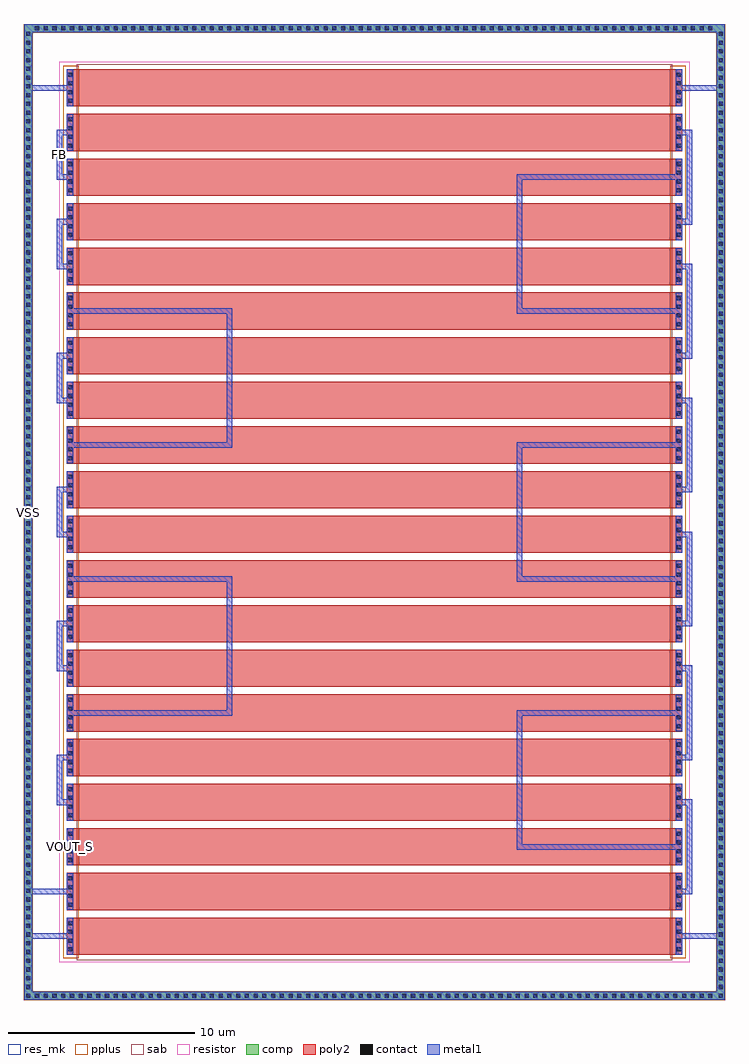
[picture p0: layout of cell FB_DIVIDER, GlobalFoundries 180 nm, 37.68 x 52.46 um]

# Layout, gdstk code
import gdstk
lib = gdstk.Library(unit=1e-6, precision=1e-09)
def R(c, l, rs):  # rectangles x0, y0, x1, y1
    for r in rs: c.add(gdstk.rectangle(r[:2], r[2:], *l))
def A(c, l, x, y, w, h, nx, ny, dx, dy):  # array of equal rectangles
    R(c, l, [(x+i*dx, y+j*dy, x+i*dx+w, y+j*dy+h) for i in range(nx) for j in range(ny)])
def P(c, l, *ps):  # polygons
    for p in ps: c.add(gdstk.Polygon(p, *l))
comp = (22, 0)
poly2 = (30, 0)
pplus = (31, 0)
contact = (33, 0)
metal1 = (34, 0)
sab = (49, 0)
resistor = (62, 0)
res_mk = (110, 5)

fb_divider = lib.new_cell('FB_DIVIDER')
P(fb_divider, comp, [(-2.92,-2.41),(-2.92,49.59),(-2.5,49.59),(-2.5,-1.99),(34.3,-1.99),(34.3,49.59),(-2.92,49.59),(-2.92,50.01),(34.72,50.01),(34.72,-2.41)])
A(fb_divider, poly2, -0.64, 0, 33.08, 2, 1, 20, 0, 2.4)
A(fb_divider, pplus, -0.82, -0.18, 0.82, 2.36, 1, 20, 0, 2.4)
A(fb_divider, pplus, 31.8, -0.18, 0.82, 2.36, 1, 20, 0, 2.4)
R(fb_divider, pplus, [(-0.82,-0.18,0,47.78), (31.8,-0.18,32.62,47.78)])
P(fb_divider, pplus, [(-2.94,-2.43),(-2.94,49.57),(-2.48,49.57),(-2.48,-1.97),(34.28,-1.97),(34.28,49.57),(-2.94,49.57),(-2.94,50.03),(34.74,50.03),(34.74,-2.43)])
A(fb_divider, contact, -2.82, -2.31, 0.22, 0.22, 79, 1, 0.47, 0)
A(fb_divider, contact, 34.4, -2.31, 0.22, 0.22, 1, 111, 0, 0.47)
A(fb_divider, contact, -2.82, -1.84, 0.22, 0.22, 1, 110, 0, 0.47)
A(fb_divider, contact, -0.57, 0.185, 0.22, 0.22, 1, 4, 0, 0.47)
A(fb_divider, contact, 32.15, 0.185, 0.22, 0.22, 1, 4, 0, 0.47)
A(fb_divider, contact, -0.57, 2.585, 0.22, 0.22, 1, 4, 0, 0.47)
A(fb_divider, contact, 32.15, 2.585, 0.22, 0.22, 1, 4, 0, 0.47)
A(fb_divider, contact, -0.57, 4.985, 0.22, 0.22, 1, 4, 0, 0.47)
A(fb_divider, contact, 32.15, 4.985, 0.22, 0.22, 1, 4, 0, 0.47)
A(fb_divider, contact, -0.57, 7.385, 0.22, 0.22, 1, 4, 0, 0.47)
A(fb_divider, contact, 32.15, 7.385, 0.22, 0.22, 1, 4, 0, 0.47)
A(fb_divider, contact, -0.57, 9.785, 0.22, 0.22, 1, 4, 0, 0.47)
A(fb_divider, contact, 32.15, 9.785, 0.22, 0.22, 1, 4, 0, 0.47)
A(fb_divider, contact, -0.57, 12.185, 0.22, 0.22, 1, 4, 0, 0.47)
A(fb_divider, contact, 32.15, 12.185, 0.22, 0.22, 1, 4, 0, 0.47)
A(fb_divider, contact, -0.57, 14.585, 0.22, 0.22, 1, 4, 0, 0.47)
A(fb_divider, contact, 32.15, 14.585, 0.22, 0.22, 1, 4, 0, 0.47)
A(fb_divider, contact, -0.57, 16.985, 0.22, 0.22, 1, 4, 0, 0.47)
A(fb_divider, contact, 32.15, 16.985, 0.22, 0.22, 1, 4, 0, 0.47)
A(fb_divider, contact, -0.57, 19.385, 0.22, 0.22, 1, 4, 0, 0.47)
A(fb_divider, contact, 32.15, 19.385, 0.22, 0.22, 1, 4, 0, 0.47)
A(fb_divider, contact, -0.57, 21.785, 0.22, 0.22, 1, 4, 0, 0.47)
A(fb_divider, contact, 32.15, 21.785, 0.22, 0.22, 1, 4, 0, 0.47)
A(fb_divider, contact, -0.57, 24.185, 0.22, 0.22, 1, 4, 0, 0.47)
A(fb_divider, contact, 32.15, 24.185, 0.22, 0.22, 1, 4, 0, 0.47)
A(fb_divider, contact, -0.57, 26.585, 0.22, 0.22, 1, 4, 0, 0.47)
A(fb_divider, contact, 32.15, 26.585, 0.22, 0.22, 1, 4, 0, 0.47)
A(fb_divider, contact, -0.57, 28.985, 0.22, 0.22, 1, 4, 0, 0.47)
A(fb_divider, contact, 32.15, 28.985, 0.22, 0.22, 1, 4, 0, 0.47)
A(fb_divider, contact, -0.57, 31.385, 0.22, 0.22, 1, 4, 0, 0.47)
A(fb_divider, contact, 32.15, 31.385, 0.22, 0.22, 1, 4, 0, 0.47)
A(fb_divider, contact, -0.57, 33.785, 0.22, 0.22, 1, 4, 0, 0.47)
A(fb_divider, contact, 32.15, 33.785, 0.22, 0.22, 1, 4, 0, 0.47)
A(fb_divider, contact, -0.57, 36.185, 0.22, 0.22, 1, 4, 0, 0.47)
A(fb_divider, contact, 32.15, 36.185, 0.22, 0.22, 1, 4, 0, 0.47)
A(fb_divider, contact, -0.57, 38.585, 0.22, 0.22, 1, 4, 0, 0.47)
A(fb_divider, contact, 32.15, 38.585, 0.22, 0.22, 1, 4, 0, 0.47)
A(fb_divider, contact, -0.57, 40.985, 0.22, 0.22, 1, 4, 0, 0.47)
A(fb_divider, contact, 32.15, 40.985, 0.22, 0.22, 1, 4, 0, 0.47)
A(fb_divider, contact, -0.57, 43.385, 0.22, 0.22, 1, 4, 0, 0.47)
A(fb_divider, contact, 32.15, 43.385, 0.22, 0.22, 1, 4, 0, 0.47)
A(fb_divider, contact, -0.57, 45.785, 0.22, 0.22, 1, 4, 0, 0.47)
A(fb_divider, contact, 32.15, 45.785, 0.22, 0.22, 1, 4, 0, 0.47)
A(fb_divider, contact, -2.35, 49.69, 0.22, 0.22, 78, 1, 0.47, 0)
A(fb_divider, metal1, -0.63, 0.01, 0.34, 1.98, 1, 3, 0, 2.4)
A(fb_divider, metal1, 32.09, 0.01, 0.34, 1.98, 1, 20, 0, 2.4)
A(fb_divider, metal1, 32.68, 3.25, 0.3, 5.1, 1, 6, 0, 7.2)
A(fb_divider, metal1, -0.63, 4.81, 0.34, 1.98, 1, 18, 0, 2.4)
A(fb_divider, metal1, 23.55, 5.65, 8.88, 0.3, 1, 6, 0, 7.2)
A(fb_divider, metal1, 23.55, 5.65, 0.3, 7.5, 1, 3, 0, 14.4)
A(fb_divider, metal1, -1.18, 8.05, 0.3, 2.7, 1, 5, 0, 7.2)
A(fb_divider, metal1, -0.63, 12.85, 8.88, 0.3, 1, 4, 0, 7.2)
A(fb_divider, metal1, -1.18, 36.85, 0.89, 0.3, 1, 4, 0, 2.4)
R(fb_divider, metal1, [(-2.71,0.85,-0.29,1.15), (32.09,0.85,34.51,1.15), (-2.71,3.25,-0.29,3.55), (32.09,3.25,32.98,3.55), (-1.18,8.05,-0.29,8.35), (32.09,8.05,32.98,8.35), (-1.18,10.45,-0.29,10.75), (32.09,10.45,32.98,10.75), (7.95,12.85,8.25,20.35), (-1.18,15.25,-0.29,15.55), (32.09,15.25,32.98,15.55), (-1.18,17.65,-0.29,17.95), (32.09,17.65,32.98,17.95), (-1.18,22.45,-0.29,22.75), (32.09,22.45,32.98,22.75), (-1.18,24.85,-0.29,25.15), (32.09,24.85,32.98,25.15), (7.95,27.25,8.25,34.75), (-1.18,29.65,-0.29,29.95), (32.09,29.65,32.98,29.95), (-1.18,32.05,-0.29,32.35), (32.09,32.05,32.98,32.35), (32.09,36.85,32.98,37.15), (32.09,39.25,32.98,39.55), (-1.18,41.65,-0.88,44.35), (32.09,44.05,32.98,44.35), (-2.71,46.45,-0.29,46.75), (32.09,46.45,34.51,46.75)])
P(fb_divider, metal1, [(-2.92,-2.41),(-2.92,49.59),(-2.5,49.59),(-2.5,-1.99),(34.3,-1.99),(34.3,49.59),(-2.92,49.59),(-2.92,50.01),(34.72,50.01),(34.72,-2.41)])
A(fb_divider, sab, -0.1, -0.28, 32, 2.56, 1, 20, 0, 2.4)
A(fb_divider, resistor, -1.04, -0.4, 33.88, 2.8, 1, 20, 0, 2.4)
A(fb_divider, res_mk, 0, 0, 31.8, 2, 1, 20, 0, 2.4)
fb_divider.add(gdstk.Label('VOUT_S', (-0.46,5.8), layer=34, texttype=10))
fb_divider.add(gdstk.Label('FB', (-1.03,43), layer=34, texttype=10))
fb_divider.add(gdstk.Label('VSS', (-2.71,23.8), layer=34, texttype=10))

lib.write_gds('FB_DIVIDER.gds')
